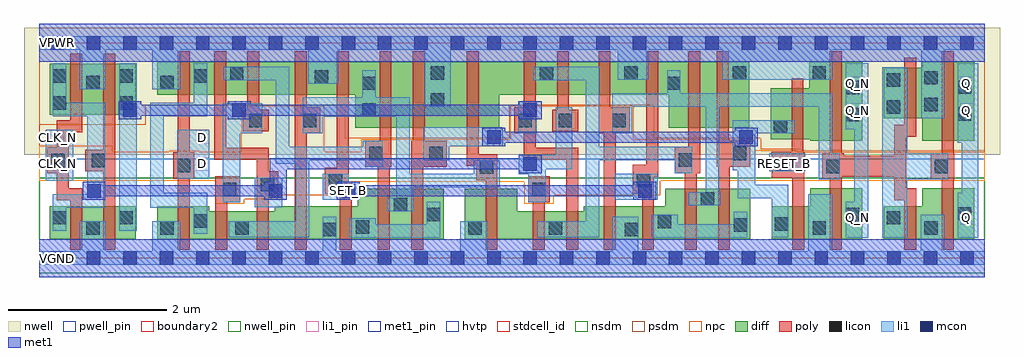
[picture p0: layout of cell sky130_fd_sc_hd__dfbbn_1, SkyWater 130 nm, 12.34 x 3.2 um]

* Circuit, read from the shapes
.subckt sky130_fd_sc_hd__dfbbn_1 CLK_N D Q Q_N RESET_B SET_B VGND VNB VPB VPWR
XM1 VGND CLK_N n1 VNB sky130_fd_pr__nfet_01v8 w=0.42 l=0.15
XM2 n2 n1 VGND VNB sky130_fd_pr__nfet_01v8 w=0.42 l=0.15
XM3 n3 D VGND VNB sky130_fd_pr__nfet_01v8 w=0.42 l=0.15
XM4 n4 n2 n3 VNB sky130_fd_pr__nfet_01v8 w=0.36 l=0.15
XM5 n5 n1 n4 VNB sky130_fd_pr__nfet_01v8 w=0.36 l=0.15
XM6 VGND n6 n5 VNB sky130_fd_pr__nfet_01v8 w=0.42 l=0.15
XM7 n7 SET_B VGND VNB sky130_fd_pr__nfet_01v8 w=0.42 l=0.15
XM8 n6 n4 n7 VNB sky130_fd_pr__nfet_01v8 w=0.64 l=0.15
XM9 n7 n8 n6 VNB sky130_fd_pr__nfet_01v8 w=0.64 l=0.15
XM10 n9 n6 VGND VNB sky130_fd_pr__nfet_01v8 w=0.64 l=0.15
XM11 n10 n1 n9 VNB sky130_fd_pr__nfet_01v8 w=0.36 l=0.15
XM12 n11 n2 n10 VNB sky130_fd_pr__nfet_01v8 w=0.36 l=0.15
XM13 VGND n12 n11 VNB sky130_fd_pr__nfet_01v8 w=0.42 l=0.15
XM14 n13 SET_B VGND VNB sky130_fd_pr__nfet_01v8 w=0.42 l=0.15
XM15 n12 n10 n13 VNB sky130_fd_pr__nfet_01v8 w=0.64 l=0.15
XM16 n13 n8 n12 VNB sky130_fd_pr__nfet_01v8 w=0.64 l=0.15
XM17 VGND RESET_B n8 VNB sky130_fd_pr__nfet_01v8 w=0.42 l=0.15
XM18 Q_N n12 VGND VNB sky130_fd_pr__nfet_01v8 w=0.65 l=0.15
XM19 VGND n12 n14 VNB sky130_fd_pr__nfet_01v8 w=0.42 l=0.15
XM20 Q n14 VGND VNB sky130_fd_pr__nfet_01v8 w=0.65 l=0.15
XM21 VPWR CLK_N n1 VPB sky130_fd_pr__pfet_01v8_hvt w=0.64 l=0.15
XM22 n2 n1 VPWR VPB sky130_fd_pr__pfet_01v8_hvt w=0.64 l=0.15
XM23 n3 D VPWR VPB sky130_fd_pr__pfet_01v8_hvt w=0.42 l=0.15
XM24 n4 n1 n3 VPB sky130_fd_pr__pfet_01v8_hvt w=0.42 l=0.15
XM25 n15 n2 n4 VPB sky130_fd_pr__pfet_01v8_hvt w=0.42 l=0.15
XM26 VPWR n6 n15 VPB sky130_fd_pr__pfet_01v8_hvt w=0.42 l=0.15
XM27 n6 SET_B VPWR VPB sky130_fd_pr__pfet_01v8_hvt w=0.42 l=0.15
XM28 n16 n4 n6 VPB sky130_fd_pr__pfet_01v8_hvt w=0.84 l=0.15
XM29 VPWR n8 n16 VPB sky130_fd_pr__pfet_01v8_hvt w=0.84 l=0.15
XM30 n17 n6 VPWR VPB sky130_fd_pr__pfet_01v8_hvt w=0.84 l=0.15
XM31 n10 n2 n17 VPB sky130_fd_pr__pfet_01v8_hvt w=0.42 l=0.15
XM32 n18 n1 n10 VPB sky130_fd_pr__pfet_01v8_hvt w=0.42 l=0.15
XM33 VPWR n12 n18 VPB sky130_fd_pr__pfet_01v8_hvt w=0.42 l=0.15
XM34 n12 SET_B VPWR VPB sky130_fd_pr__pfet_01v8_hvt w=0.42 l=0.15
XM35 n19 n10 n12 VPB sky130_fd_pr__pfet_01v8_hvt w=0.84 l=0.15
XM36 VPWR n8 n19 VPB sky130_fd_pr__pfet_01v8_hvt w=0.84 l=0.15
XM37 VPWR RESET_B n8 VPB sky130_fd_pr__pfet_01v8_hvt w=0.64 l=0.15
XM38 Q_N n12 VPWR VPB sky130_fd_pr__pfet_01v8_hvt w=1 l=0.15
XM39 VPWR n12 n14 VPB sky130_fd_pr__pfet_01v8_hvt w=0.64 l=0.15
XM40 Q n14 VPWR VPB sky130_fd_pr__pfet_01v8_hvt w=1 l=0.15
.ends

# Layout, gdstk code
import gdstk
lib = gdstk.Library(unit=1e-6, precision=1e-09)
def R(c, l, rs):  # rectangles x0, y0, x1, y1
    for r in rs: c.add(gdstk.rectangle(r[:2], r[2:], *l))
def A(c, l, x, y, w, h, nx, ny, dx, dy):  # array of equal rectangles
    R(c, l, [(x+i*dx, y+j*dy, x+i*dx+w, y+j*dy+h) for i in range(nx) for j in range(ny)])
def P(c, l, *ps):  # polygons
    for p in ps: c.add(gdstk.Polygon(p, *l))
nwell_pin = (64, 16)
nwell = (64, 20)
diff = (65, 20)
poly = (66, 20)
licon = (66, 44)
li1_pin = (67, 16)
li1 = (67, 20)
mcon = (67, 44)
met1_pin = (68, 16)
met1 = (68, 20)
hvtp = (78, 44)
stdcell_id = (81, 4)
nsdm = (93, 44)
psdm = (94, 20)
npc = (95, 20)
pwell_pin = (122, 16)
boundary2 = (236, 0)

sky130_fd_sc_hd__dfbbn_1 = lib.new_cell('sky130_fd_sc_hd__dfbbn_1')
R(sky130_fd_sc_hd__dfbbn_1, nwell_pin, [(0.145,2.635,0.315,2.805), (0.145,2.635,0.315,2.805)])
R(sky130_fd_sc_hd__dfbbn_1, nwell, [(-0.19,1.305,12.15,2.91)])
R(sky130_fd_sc_hd__dfbbn_1, diff, [(0.135,0.235,1.225,0.655), (0.135,1.815,1.225,2.455)])
P(sky130_fd_sc_hd__dfbbn_1, diff, [(5.115,0.875),(4.03,0.875),(4.03,0.655),(2.98,0.655),(2.98,0.595),(2.155,0.595),(2.155,0.655),(1.495,0.655),(1.495,0.235),(5.115,0.235)],
  [(8.98,2.485),(1.495,2.485),(1.495,2.065),(3.995,2.065),(3.995,1.645),(5.82,1.645),(5.82,2.065),(7.96,2.065),(7.96,1.645),(8.98,1.645)],
  [(8.995,0.875),(7.915,0.875),(7.915,0.655),(6.89,0.655),(6.89,0.595),(6.045,0.595),(6.045,0.875),(5.385,0.875),(5.385,0.235),(8.995,0.235)],
  [(10.41,2.485),(9.74,2.485),(9.74,2.145),(9.25,2.145),(9.25,1.505),(9.75,1.505),(9.75,1.485),(10.41,1.485)],
  [(10.41,0.885),(9.75,0.885),(9.75,0.655),(9.265,0.655),(9.265,0.235),(10.41,0.235)],
  [(11.825,0.885),(11.165,0.885),(11.165,0.655),(10.68,0.655),(10.68,0.235),(11.825,0.235)],
  [(11.825,2.485),(11.165,2.485),(11.165,2.405),(10.68,2.405),(10.68,1.765),(11.165,1.765),(11.165,1.485),(11.825,1.485)])
R(sky130_fd_sc_hd__dfbbn_1, poly, [(1.755,0.105,1.905,1.03), (4.285,0.105,4.435,1.165), (4.705,0.105,4.855,1.485), (5.645,0.105,5.795,1.315), (6.245,0.105,6.395,0.74), (7.14,0.105,7.29,1.61), (7.625,0.105,7.775,0.845), (8.165,0.105,8.315,1.1), (8.585,0.105,8.735,1.175), (9.525,0.105,9.675,1.025), (10,0.105,10.15,1.065), (11.415,0.105,11.565,1.01), (6.185,0.705,6.455,1.035), (11.275,0.995,11.57,1.325), (1.695,1.005,1.965,1.335), (9.265,1.015,9.675,1.345), (7.68,1.14,7.83,2.615), (10,1.295,10.15,2.615), (1.755,1.315,1.905,2.615), (11.415,1.315,11.565,2.615), (9.515,1.335,9.665,2.275)])
P(sky130_fd_sc_hd__dfbbn_1, poly, [(0.545,0.88),(0.375,0.88),(0.375,1.59),(0.545,1.59),(0.545,2.585),(0.395,2.585),(0.395,1.74),(0.225,1.74),(0.225,1.4),(0.105,1.4),(0.105,1.07),(0.225,1.07),(0.225,0.73),(0.395,0.73),(0.395,0.105),(0.545,0.105)],
  [(0.965,2.585),(0.815,2.585),(0.815,1.37),(0.585,1.37),(0.585,1.1),(0.815,1.1),(0.815,0.105),(0.965,0.105)],
  [(2.545,1.035),(2.23,1.035),(2.23,0.105),(2.38,0.105),(2.38,0.705),(2.545,0.705)],
  [(2.905,1.875),(2.785,1.875),(2.785,2.615),(2.635,2.615),(2.635,1.875),(2.575,1.875),(2.575,1.605),(2.905,1.605)],
  [(3.025,1.095),(2.905,1.095),(2.905,1.395),(2.365,1.395),(2.365,2.615),(2.215,2.615),(2.215,1.245),(2.755,1.245),(2.755,0.105),(2.905,0.105),(2.905,0.765),(3.025,0.765)],
  [(3.555,1.905),(3.385,1.905),(3.385,2.615),(3.235,2.615),(3.235,0.105),(3.385,0.105),(3.385,1.575),(3.555,1.575)],
  [(3.955,0.965),(3.915,0.965),(3.915,2.615),(3.765,2.615),(3.765,1.145),(3.615,1.145),(3.615,0.815),(3.805,0.815),(3.805,0.105),(3.955,0.105)],
  [(5.155,1.485),(4.875,1.485),(4.875,2.615),(4.725,2.615),(4.725,1.155),(5.155,1.155)],
  [(6.815,1.395),(6.28,1.395),(6.28,2.615),(6.13,2.615),(6.13,1.905),(6.01,1.905),(6.01,1.575),(6.13,1.575),(6.13,1.245),(6.665,1.245),(6.665,0.105),(6.815,0.105)],
  [(6.82,1.875),(6.7,1.875),(6.7,2.615),(6.55,2.615),(6.55,1.875),(6.49,1.875),(6.49,1.605),(6.82,1.605)],
  [(7.47,1.905),(7.225,1.905),(7.225,2.615),(7.075,2.615),(7.075,1.575),(7.47,1.575)],
  [(7.83,1.18),(7.505,1.18),(7.505,0.815),(7.775,0.815),(7.775,1.03),(7.83,1.03)],
  [(8.99,1.485),(8.72,1.485),(8.72,2.615),(8.57,2.615),(8.57,1.155),(8.99,1.155)],
  [(11.09,0.88),(10.965,0.88),(10.965,1.535),(11.09,1.535),(11.09,2.535),(10.94,2.535),(10.94,1.685),(10.815,1.685),(10.815,1.295),(10.175,1.295),(10.175,1.325),(9.905,1.325),(9.905,0.995),(10.125,0.995),(10.125,1.025),(10.815,1.025),(10.815,0.73),(10.94,0.73),(10.94,0.105),(11.09,0.105)],
  [(8.36,2.615),(8.21,2.615),(8.21,1.405),(8.04,1.405),(8.04,1.075),(8.36,1.075)],
  [(5.795,1.315),(5.56,1.315),(5.56,2.615),(5.41,2.615),(5.41,1.165),(5.525,1.165),(5.525,0.985),(5.795,0.985)],
  [(4.455,2.615),(4.305,2.615),(4.305,1.485),(4.125,1.485),(4.125,1.155),(4.455,1.155)])
R(sky130_fd_sc_hd__dfbbn_1, licon, [(3.585,0.275,3.755,0.445), (7.405,0.275,7.575,0.445), (0.595,0.295,0.765,0.465), (1.535,0.295,1.705,0.465), (2.48,0.295,2.65,0.465), (5.425,0.295,5.595,0.465), (6.445,0.295,6.615,0.465), (9.78,0.295,9.95,0.465), (11.195,0.295,11.365,0.465), (4.005,0.305,4.175,0.475), (8.785,0.335,8.955,0.505), (9.305,0.345,9.475,0.515), (7.825,0.375,7.995,0.545), (1.955,0.385,2.125,0.555), (0.175,0.425,0.345,0.595), (1.015,0.425,1.185,0.595), (10.72,0.425,10.89,0.595), (4.905,0.465,5.075,0.635), (10.2,0.465,10.37,0.635), (11.615,0.475,11.785,0.645), (4.485,0.595,4.655,0.765), (8.365,0.665,8.535,0.835), (2.325,0.785,2.495,0.955), (6.235,0.785,6.405,0.955), (2.805,0.845,2.975,1.015), (3.665,0.895,3.835,1.065), (7.555,0.895,7.725,1.065), (5.575,1.065,5.745,1.235), (9.955,1.075,10.125,1.245), (11.325,1.075,11.495,1.245), (1.745,1.085,1.915,1.255), (9.315,1.095,9.485,1.265), (0.155,1.15,0.325,1.32), (0.665,1.15,0.835,1.32), (8.09,1.155,8.26,1.325), (4.175,1.235,4.345,1.405), (4.935,1.235,5.105,1.405), (8.77,1.235,8.94,1.405), (9.29,1.575,9.46,1.745), (2.655,1.655,2.825,1.825), (3.335,1.655,3.505,1.825), (6.06,1.655,6.23,1.825), (6.57,1.655,6.74,1.825), (7.25,1.655,7.42,1.825), (10.2,1.73,10.37,1.9), (11.615,1.735,11.785,1.905), (4.085,1.785,4.255,1.955), (10.72,1.825,10.89,1.995), (11.195,1.855,11.365,2.025), (0.175,1.875,0.345,2.045), (1.015,1.875,1.185,2.045), (4.955,1.915,5.125,2.085), (10.2,2.07,10.37,2.24), (11.615,2.075,11.785,2.245), (4.085,2.125,4.255,2.295), (7.94,2.125,8.11,2.295), (0.595,2.135,0.765,2.305), (1.535,2.135,1.705,2.305), (10.72,2.165,10.89,2.335), (11.195,2.195,11.365,2.365), (3.485,2.205,3.655,2.375), (0.175,2.215,0.345,2.385), (1.015,2.215,1.185,2.385), (1.955,2.215,2.125,2.385), (2.415,2.25,2.585,2.42), (6.33,2.25,6.5,2.42), (4.955,2.255,5.125,2.425), (7.4,2.255,7.57,2.425), (8.77,2.255,8.94,2.425), (9.78,2.255,9.95,2.425)])
R(sky130_fd_sc_hd__dfbbn_1, li1_pin, [(0.145,-0.085,0.315,0.085), (10.265,0.425,10.435,0.595), (11.645,0.425,11.815,0.595), (3.825,0.765,3.995,0.935), (0.145,1.105,0.315,1.275), (1.985,1.105,2.155,1.275), (9.345,1.105,9.515,1.275), (0.145,1.445,0.315,1.615), (1.985,1.445,2.155,1.615), (10.265,1.785,10.435,1.955), (11.645,1.785,11.815,1.955), (10.265,2.125,10.435,2.295), (11.645,2.125,11.815,2.295), (0.145,2.635,0.315,2.805)])
R(sky130_fd_sc_hd__dfbbn_1, li1, [(1.015,0.345,1.235,2.465), (2.725,0.645,3.075,1.015), (7.28,0.735,7.825,1.065), (0.085,0.975,0.435,1.625), (1.745,1.005,2.155,1.625), (9.235,1.095,9.69,1.325), (6.06,1.575,6.295,1.985)])
P(sky130_fd_sc_hd__dfbbn_1, li1, [(0.84,1.965),(0.345,1.965),(0.345,2.465),(0.175,2.465),(0.175,1.795),(0.61,1.795),(0.61,0.805),(0.175,0.805),(0.175,0.345),(0.345,0.345),(0.345,0.635),(0.84,0.635)],
  [(2.125,0.825),(1.575,0.825),(1.575,1.795),(2.125,1.795),(2.125,2.465),(1.955,2.465),(1.955,1.965),(1.405,1.965),(1.405,0.635),(1.955,0.635),(1.955,0.305),(2.125,0.305)],
  [(2.825,1.955),(2.325,1.955),(2.325,0.705),(2.545,0.705),(2.545,1.575),(2.825,1.575)],
  [(3.995,0.965),(3.915,0.965),(3.915,1.065),(3.585,1.065),(3.585,0.735),(3.995,0.735)],
  [(4.345,1.485),(4.095,1.485),(4.095,1.405),(3.165,1.405),(3.165,2.42),(2.335,2.42),(2.335,2.25),(2.995,2.25),(2.995,1.195),(3.245,1.195),(3.245,0.465),(2.4,0.465),(2.4,0.265),(3.415,0.265),(3.415,1.235),(4.125,1.235),(4.125,1.155),(4.345,1.155)],
  [(5.075,0.715),(4.905,0.715),(4.905,0.425),(4.255,0.425),(4.255,0.505),(3.925,0.505),(3.925,0.255),(5.075,0.255)],
  [(5.825,1.235),(5.495,1.235),(5.495,1.065),(4.685,1.065),(4.685,2.035),(4.255,2.035),(4.255,2.375),(4.085,2.375),(4.085,2.035),(3.335,2.035),(3.335,1.575),(3.585,1.575),(3.585,1.785),(4.515,1.785),(4.515,0.765),(4.405,0.765),(4.405,0.595),(4.735,0.595),(4.735,0.895),(5.825,0.895)],
  [(5.86,1.655),(4.855,1.655),(4.855,1.235),(5.185,1.235),(5.185,1.415),(5.86,1.415)],
  [(6.74,1.905),(6.535,1.905),(6.535,1.305),(6.065,1.305),(6.065,1.06),(6.185,1.06),(6.185,0.705),(6.405,0.705),(6.405,1.125),(6.74,1.125)],
  [(8.26,1.405),(7.08,1.405),(7.08,2.42),(6.25,2.42),(6.25,2.25),(6.91,2.25),(6.91,0.465),(6.3,0.465),(6.3,0.265),(7.08,0.265),(7.08,1.235),(8.04,1.235),(8.04,1.075),(8.26,1.075)],
  [(8.955,0.585),(8.785,0.585),(8.785,0.425),(8.075,0.425),(8.075,0.545),(7.745,0.545),(7.745,0.255),(8.955,0.255)],
  [(9.555,1.745),(8.77,1.745),(8.77,1.11),(8.835,1.11),(8.835,0.755),(9.265,0.755),(9.265,0.265),(9.475,0.265),(9.475,0.925),(9.055,0.925),(9.055,1.575),(9.555,1.575)],
  [(10.125,1.325),(10.03,1.325),(10.03,2.085),(8.11,2.085),(8.11,2.375),(7.94,2.375),(7.94,2.085),(7.25,2.085),(7.25,1.575),(7.5,1.575),(7.5,1.915),(8.43,1.915),(8.43,0.835),(8.215,0.835),(8.215,0.665),(8.615,0.665),(8.615,0.84),(8.6,0.84),(8.6,1.915),(9.86,1.915),(9.86,0.995),(10.125,0.995)],
  [(10.485,2.465),(10.2,2.465),(10.2,1.63),(10.305,1.63),(10.305,0.715),(10.2,0.715),(10.2,0.255),(10.485,0.255)],
  [(11.495,1.325),(10.975,1.325),(10.975,2.415),(10.66,2.415),(10.66,0.255),(10.975,0.255),(10.975,0.995),(11.495,0.995)],
  [(11.96,2.805),(0,2.805),(0,2.635),(0.515,2.635),(0.515,2.135),(0.845,2.135),(0.845,2.635),(1.43,2.635),(1.43,2.135),(1.785,2.135),(1.785,2.635),(3.405,2.635),(3.405,2.205),(3.785,2.205),(3.785,2.635),(4.875,2.635),(4.875,1.915),(5.205,1.915),(5.205,2.635),(7.32,2.635),(7.32,2.255),(7.7,2.255),(7.7,2.635),(8.64,2.635),(8.64,2.255),(10.03,2.255),(10.03,2.635),(11.155,2.635),(11.155,1.765),(11.445,1.765),(11.445,2.635),(11.96,2.635)],
  [(11.96,0.085),(11.445,0.085),(11.445,0.545),(11.15,0.545),(11.15,0.085),(10.03,0.085),(10.03,0.805),(9.725,0.805),(9.725,0.085),(7.575,0.085),(7.575,0.525),(7.25,0.525),(7.25,0.085),(5.675,0.085),(5.675,0.465),(5.325,0.465),(5.325,0.085),(3.755,0.085),(3.755,0.525),(3.585,0.525),(3.585,0.085),(1.785,0.085),(1.785,0.465),(1.43,0.465),(1.43,0.085),(0.845,0.085),(0.845,0.465),(0.515,0.465),(0.515,0.085),(0,0.085),(0,-0.085),(11.96,-0.085)],
  [(11.875,2.465),(11.615,2.465),(11.615,1.455),(11.665,1.455),(11.665,0.825),(11.615,0.825),(11.615,0.255),(11.875,0.255)])
A(sky130_fd_sc_hd__dfbbn_1, mcon, 0.145, -0.085, 0.17, 0.17, 26, 2, 0.46, 2.72)
R(sky130_fd_sc_hd__dfbbn_1, mcon, [(0.61,0.765,0.78,0.935), (2.905,0.765,3.075,0.935), (3.825,0.765,3.995,0.935), (7.575,0.765,7.745,0.935), (6.125,1.105,6.295,1.275), (5.665,1.445,5.835,1.615), (8.855,1.445,9.025,1.615), (1.065,1.785,1.235,1.955), (2.445,1.785,2.615,1.955), (6.125,1.785,6.295,1.955)])
R(sky130_fd_sc_hd__dfbbn_1, met1_pin, [(0.145,-0.085,0.315,0.085), (0.145,2.635,0.315,2.805)])
R(sky130_fd_sc_hd__dfbbn_1, met1, [(0,-0.24,11.96,0.24), (0,2.48,11.96,2.96)])
P(sky130_fd_sc_hd__dfbbn_1, met1, [(6.355,1.985),(6.065,1.985),(6.065,1.94),(2.675,1.94),(2.675,1.985),(2.385,1.985),(2.385,1.94),(1.295,1.94),(1.295,1.985),(1.005,1.985),(1.005,1.755),(1.295,1.755),(1.295,1.8),(2.385,1.8),(2.385,1.755),(2.675,1.755),(2.675,1.8),(6.065,1.8),(6.065,1.755),(6.355,1.755)],
  [(6.355,1.305),(6.065,1.305),(6.065,1.26),(2.92,1.26),(2.92,0.965),(2.845,0.965),(2.845,0.92),(0.84,0.92),(0.84,0.965),(0.55,0.965),(0.55,0.735),(0.84,0.735),(0.84,0.78),(2.845,0.78),(2.845,0.735),(3.135,0.735),(3.135,1.12),(6.065,1.12),(6.065,1.075),(6.355,1.075)],
  [(7.805,0.965),(7.515,0.965),(7.515,0.92),(4.055,0.92),(4.055,0.965),(3.765,0.965),(3.765,0.735),(4.055,0.735),(4.055,0.78),(7.515,0.78),(7.515,0.735),(7.805,0.735)],
  [(9.085,1.645),(8.795,1.645),(8.795,1.6),(5.895,1.6),(5.895,1.645),(5.605,1.645),(5.605,1.415),(5.895,1.415),(5.895,1.46),(8.795,1.46),(8.795,1.415),(9.085,1.415)])
R(sky130_fd_sc_hd__dfbbn_1, hvtp, [(0,1.25,11.96,2.72)])
R(sky130_fd_sc_hd__dfbbn_1, stdcell_id, [(0,0,11.96,2.72)])
R(sky130_fd_sc_hd__dfbbn_1, nsdm, [(0,-0.19,11.96,1.015)])
P(sky130_fd_sc_hd__dfbbn_1, psdm, [(11.96,2.91),(0,2.91),(0,1.685),(1.35,1.685),(1.35,1.935),(3.865,1.935),(3.865,1.515),(5.95,1.515),(5.95,1.935),(7.775,1.935),(7.775,1.515),(9.125,1.515),(9.125,1.375),(9.635,1.375),(9.635,1.355),(11.96,1.355)])
P(sky130_fd_sc_hd__dfbbn_1, npc, [(11.96,1.345),(9.585,1.345),(9.585,1.365),(9.05,1.365),(9.05,1.505),(7.52,1.505),(7.52,1.925),(5.96,1.925),(5.96,1.505),(4.075,1.505),(4.075,1.345),(3.605,1.345),(3.605,1.925),(2.555,1.925),(2.555,1.345),(2.015,1.345),(2.015,1.355),(1.645,1.355),(1.645,1.345),(0.935,1.345),(0.935,1.42),(0,1.42),(0,0.975),(2.225,0.975),(2.225,0.685),(2.595,0.685),(2.595,0.745),(3.075,0.745),(3.075,0.795),(3.935,0.795),(3.935,0.965),(6.135,0.965),(6.135,0.685),(6.505,0.685),(6.505,0.795),(7.855,0.795),(7.855,0.975),(11.96,0.975)])
R(sky130_fd_sc_hd__dfbbn_1, pwell_pin, [(0.145,-0.085,0.315,0.085), (0.145,-0.085,0.315,0.085)])
R(sky130_fd_sc_hd__dfbbn_1, boundary2, [(0,0,11.96,2.72)])
sky130_fd_sc_hd__dfbbn_1.add(gdstk.Label('RESET_B', (9.43,1.19), layer=67, texttype=5))
sky130_fd_sc_hd__dfbbn_1.add(gdstk.Label('VGND', (0.23,0), layer=67, texttype=5))
sky130_fd_sc_hd__dfbbn_1.add(gdstk.Label('CLK_N', (0.23,1.19), layer=67, texttype=5))
sky130_fd_sc_hd__dfbbn_1.add(gdstk.Label('CLK_N', (0.23,1.53), layer=67, texttype=5))
sky130_fd_sc_hd__dfbbn_1.add(gdstk.Label('SET_B', (3.91,0.85), layer=67, texttype=5))
sky130_fd_sc_hd__dfbbn_1.add(gdstk.Label('Q', (11.73,0.51), layer=67, texttype=5))
sky130_fd_sc_hd__dfbbn_1.add(gdstk.Label('Q', (11.73,1.87), layer=67, texttype=5))
sky130_fd_sc_hd__dfbbn_1.add(gdstk.Label('Q', (11.73,2.21), layer=67, texttype=5))
sky130_fd_sc_hd__dfbbn_1.add(gdstk.Label('VPWR', (0.23,2.72), layer=67, texttype=5))
sky130_fd_sc_hd__dfbbn_1.add(gdstk.Label('D', (2.07,1.19), layer=67, texttype=5))
sky130_fd_sc_hd__dfbbn_1.add(gdstk.Label('D', (2.07,1.53), layer=67, texttype=5))
sky130_fd_sc_hd__dfbbn_1.add(gdstk.Label('Q_N', (10.35,2.21), layer=67, texttype=5))
sky130_fd_sc_hd__dfbbn_1.add(gdstk.Label('Q_N', (10.35,1.87), layer=67, texttype=5))
sky130_fd_sc_hd__dfbbn_1.add(gdstk.Label('Q_N', (10.35,0.51), layer=67, texttype=5))
sky130_fd_sc_hd__dfbbn_1.add(gdstk.Label('VGND', (0.23,0), layer=68, texttype=5))
sky130_fd_sc_hd__dfbbn_1.add(gdstk.Label('VPWR', (0.23,2.72), layer=68, texttype=5))
sky130_fd_sc_hd__dfbbn_1.add(gdstk.Label('VPB', (0.23,2.72), layer=64, texttype=5))
sky130_fd_sc_hd__dfbbn_1.add(gdstk.Label('VPB', (0.23,2.72), layer=64, texttype=5))
sky130_fd_sc_hd__dfbbn_1.add(gdstk.Label('VNB', (0.23,0), layer=64, texttype=59))
sky130_fd_sc_hd__dfbbn_1.add(gdstk.Label('VNB', (0.23,0), layer=64, texttype=59))
sky130_fd_sc_hd__dfbbn_1.add(gdstk.Label('dfbbn_1', (0,0), layer=83, texttype=44))

lib.write_gds('sky130_fd_sc_hd__dfbbn_1.gds')
